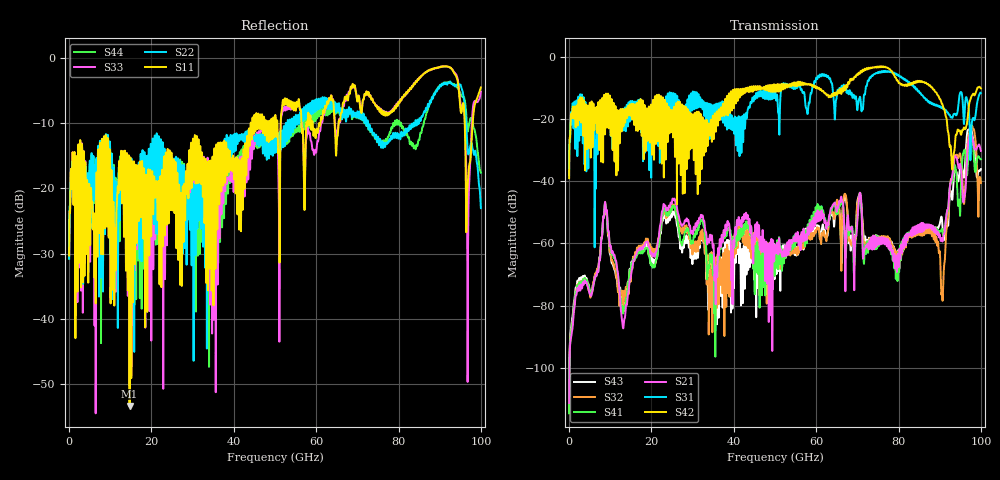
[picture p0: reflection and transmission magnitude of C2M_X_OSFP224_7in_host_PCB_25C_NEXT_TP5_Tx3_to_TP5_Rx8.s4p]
# GHz S RI R 45
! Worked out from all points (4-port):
!   4000 points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, 25 MHz to 100 GHz, reference 45 ohm
!   strongest paths, dB at 25 MHz, 25.02 GHz, 50.02 GHz, 75.03 GHz, 100 GHz:
!     S42: -39.0, -17.2, -11.2, -3.4, -10.1
!     S31: -38.3, -14.7, -11.4, -4.9, -11.6
!     S21: -111.3, -46.4, -60.6, -58.4, -30.2
!     S41: -114.6, -48.7, -61.5, -59.8, -33.0
!     S32: -113.8, -48.3, -61.9, -58.3, -40.6
!     S43: -105.8, -50.6, -65.0, -59.2, -36.1
!   lowest |S11| = -53.3 dB at 14.7 GHz (marker M1), VSWR 1.00, Z = 45.2 + j0.0644 ohm
!   |S11| at or under -10 dB: start of sweep to 44.11 GHz; 59.15 GHz to 61.04 GHz (1.886 GHz wide, 3.14 % of centre); 96.08 GHz to 98 GHz (1.927 GHz wide, 1.99 % of centre)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
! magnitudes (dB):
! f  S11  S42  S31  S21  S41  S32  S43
! 25 MHz  -30.3  -39.0  -38.3  -111.3  -114.6  -113.8  -105.8
! 8.775 GHz  -20.8  -21.5  -21.3  -46.7  -46.8  -47.1  -47.3
! 14.7 GHz  -53.3  -15.4  -20.9  -72.2  -69.0  -69.9  -68.3
! 66.97 GHz  -6.0  -10.2  -10.0  -60.1  -62.3  -44.0  -44.6
! 90.67 GHz  -1.4  -15.3  -16.4  -59.4  -56.6  -78.3  -54.5
! 93.85 GHz  -2.7  -25.6  -18.6  -32.0  -35.7  -31.6  -36.5
! 100 GHz  -4.6  -10.1  -11.6  -30.2  -33.0  -40.6  -36.1
